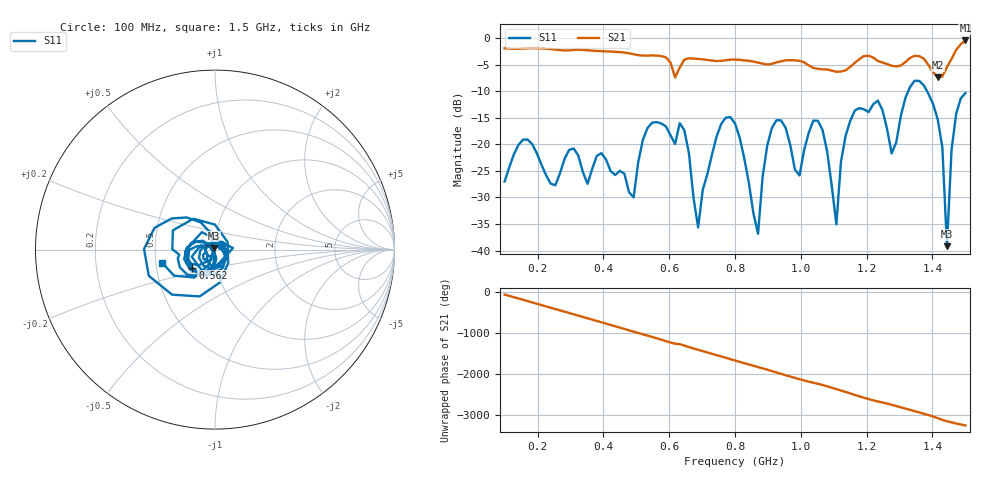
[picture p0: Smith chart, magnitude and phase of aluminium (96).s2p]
! NanoVNA-App
! Date: 2025-09-25 14:56:01
! Start: 100MHz Stop: 1,5GHz Points: 101
! S-Parameter data: F S11 S21 S12 S22
# Hz S RI R 50
!  Frequency  S11_Real  S11_Imag  S21_Real  S21_Imag  S12_Real  S12_Imag  S22_Real  S22_Imag
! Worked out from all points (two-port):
!   101 points, 100 MHz to 1.5 GHz, reference 50 ohm
!   highest |S21| = -0.45 dB at 1.5 GHz (marker M1); lowest = -7.4 dB at 1.416 GHz (marker M2)
!   |S21| within 3 dB of the highest: start of sweep to 579.6 MHz; 1.462 GHz to end of sweep (the widest 2 of 4)
!   lowest |S11| = -39.2 dB at 1.444 GHz (marker M3), VSWR 1.02, Z = 49.4 + j0.944 ohm
!   |S11| at or under -10 dB: start of sweep to 1.326 GHz; 1.383 GHz to end of sweep
!   S12 and S22 are empty: the file has one direction only
!   S11 on the Smith chart (normalised r, x): 100 MHz: 1.07, +0.06; 562 MHz: 0.76, -0.16; 1.5 GHz: 0.54, -0.09
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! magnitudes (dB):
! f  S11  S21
! 100 MHz  -27.0  -1.9
! 156 MHz  -19.1  -2.0
! 338 MHz  -25.3  -2.2
! 492 MHz  -30.0  -3.0
! 562 MHz  -15.8  -3.3
! 576 MHz  -16.1  -3.4
! 646 MHz  -17.3  -4.1
! 688 MHz  -35.7  -3.9
! 744 MHz  -18.6  -4.3
! 800 MHz  -16.1  -4.1
! 870 MHz  -36.8  -4.6
! 912 MHz  -16.9  -4.9
! 996 MHz  -25.9  -4.3
! 1.038 GHz  -15.5  -5.6
! 1.108 GHz  -35.1  -6.3
! 1.164 GHz  -13.6  -4.7
! 1.276 GHz  -21.7  -5.2
! 1.346 GHz  -8.0  -3.3
! 1.416 GHz  -15.3  -7.4
! 1.444 GHz  -39.2  -5.4
! 1.458 GHz  -21.0  -3.9
! 1.5 GHz  -10.4  -0.4
